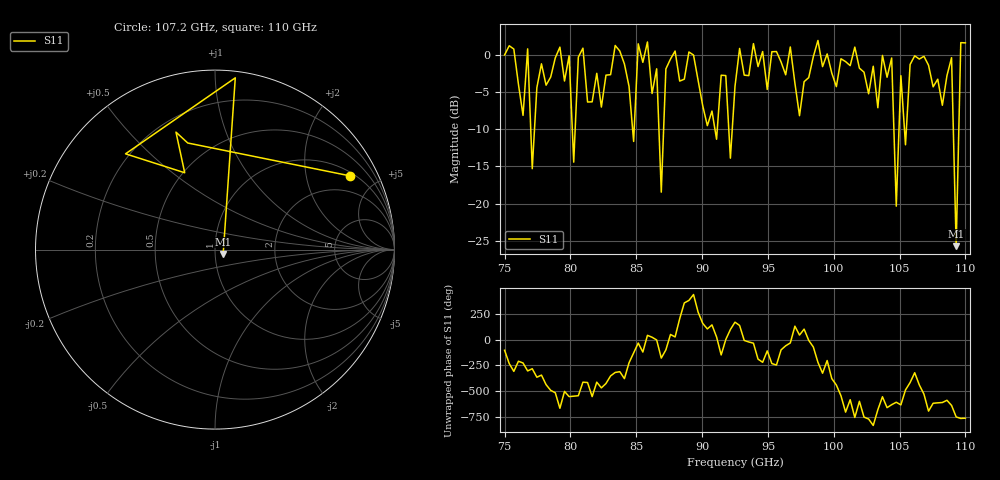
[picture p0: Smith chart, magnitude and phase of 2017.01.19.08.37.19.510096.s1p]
!Created with skrf (http://scikit-rf.org).
# GHz S RI R 50.0
!freq ReS11 ImS11
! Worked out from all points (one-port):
!   101 points, 75 GHz to 110 GHz, reference 50 ohm
!   lowest |S11| = -25.7 dB at 109.3 GHz (marker M1), VSWR 1.11, Z = 54.7 - j2.66 ohm
!   |S11| at or under -10 dB: 76.98538 GHz to 77.26948 GHz (284.1 MHz wide, 0.368 % of centre); 80.14243 GHz to 80.359 GHz (216.6 MHz wide, 0.27 % of centre); 84.72382 GHz to 84.84306 GHz (119.2 MHz wide, 0.141 % of centre) (the widest 3 of 9)
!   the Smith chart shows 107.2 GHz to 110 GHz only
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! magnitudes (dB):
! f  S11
! 75 GHz  0.1
! 76.75 GHz  0.9
! 77.1 GHz  -15.3
! 77.8 GHz  -1.1
! 79.55 GHz  -3.5
! 80.25 GHz  -14.4
! 80.6 GHz  -0.2
! 83.75 GHz  0.6
! 84.8 GHz  -11.6
! 85.15 GHz  1.6
! 86.55 GHz  -1.8
! 86.9 GHz  -18.5
! 87.25 GHz  -1.8
! 88.3 GHz  -3.5
! 91.8 GHz  -2.7
! 92.15 GHz  -13.9
! 92.5 GHz  -4.2
! 97.05 GHz  -3.7
! 101.2 GHz  -1.4
! 104.4 GHz  -0.4
! 104.8 GHz  -20.4
! 105.1 GHz  -2.7
! 105.5 GHz  -12.1
! 105.8 GHz  -1.2
! 109 GHz  -0.3
! 109.3 GHz  -25.7
! 109.7 GHz  1.7
! 110 GHz  1.7
